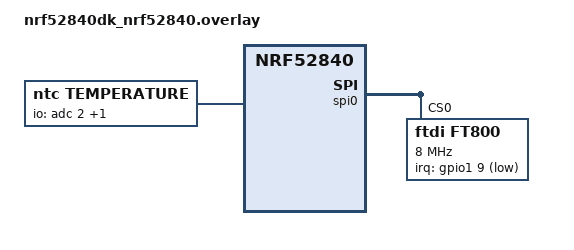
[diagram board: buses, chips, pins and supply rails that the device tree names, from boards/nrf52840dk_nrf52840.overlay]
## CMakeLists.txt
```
# Find Zephyr. This also loads Zephyr's build system.
cmake_minimum_required(VERSION 3.13.1)

set(CONF_FILE "prj.conf")
list(APPEND CONF_FILE "../config/openthread.conf")
list(APPEND CONF_FILE "../config/coap.conf")
list(APPEND CONF_FILE "../config/fota.conf")
list(APPEND CONF_FILE "../config/dfu.conf")
list(APPEND CONF_FILE "prj.conf")

list(APPEND BOARD_ROOT ${CMAKE_CURRENT_SOURCE_DIR})
find_package(Zephyr REQUIRED HINTS $ENV{ZEPHYR_BASE})
project(temp_tscrn)

# Add your source file to the "app" target. This must come after
# find_package(Zephyr) which defines the target.
target_sources(app PRIVATE src/coap.c)
target_sources(app PRIVATE src/conn.c)
target_sources(app PRIVATE src/ctlr.c)
target_sources(app PRIVATE src/data_dispatcher.c)
target_sources(app PRIVATE src/display.c)
target_sources(app PRIVATE src/light_conn.c)
target_sources(app PRIVATE src/main.c)
target_sources(app PRIVATE src/ntc.c)
target_sources(app PRIVATE src/output.c)
target_sources(app PRIVATE src/prj_timeout.c)
target_sources(app PRIVATE src/prov.c)
target_sources(app PRIVATE src/rmt_out.c)
target_sources(app PRIVATE src/sensor.c)
target_sources(app PRIVATE src/shades_conn.c)
target_sources(app PRIVATE src/vent_conn.c)

# TODO: Replace with library target
target_include_directories(app PRIVATE ../lib)
target_sources(app PRIVATE ../lib/cbor_utils.c)
target_sources(app PRIVATE ../lib/coap_fota.c)
target_sources(app PRIVATE ../lib/coap_reboot.c)
target_sources(app PRIVATE ../lib/coap_sd.c)
target_sources(app PRIVATE ../lib/coap_server.c)
target_sources(app PRIVATE ../lib/coap_temperature.c)
target_sources(app PRIVATE ../lib/continuous_sd.c)
target_sources(app PRIVATE ../lib/dfu_utils.c)

zephyr_get(COAPS_PSK SYSBUILD GLOBAL)
if(COAPS_PSK)
    target_compile_definitions(app PRIVATE
        -DCOAPS_PSK=${COAPS_PSK}
        )
else()
    message(FATAL_ERROR "Missing COAPS_PSK")
endif()
```

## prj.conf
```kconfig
CONFIG_NEWLIB_LIBC=y
CONFIG_FPU=y
CONFIG_FPU_SHARING=y

CONFIG_MAIN_STACK_SIZE=3072
CONFIG_HEAP_MEM_POOL_SIZE=2048

CONFIG_ADC=y
CONFIG_SENSOR=y

CONFIG_SPI=y
CONFIG_DISPLAY=y
CONFIG_FT800=y

CONFIG_MCUBOOT_IMGTOOL_SIGN_VERSION="0.13.1+0"

CONFIG_COAP_SD_MAX_NUM_RSRCS=12
CONFIG_CONTINUOUS_SD_MAX_NUM_RSRCS=12
CONFIG_NET_MAX_CONTEXTS=16
CONFIG_NET_MAX_CONN=16
CONFIG_NET_SOCKETS_SERVICE_THREAD_PRIO=14
CONFIG_ZVFS_OPEN_MAX=24

# Needed for NTP
CONFIG_DNS_RESOLVER=y
CONFIG_DNS_SERVER_IP_ADDRESSES=y
CONFIG_DNS_SERVER1="2001:4860:4860::8888"
CONFIG_DNS_SERVER2="2001:4860:4860::8844"
CONFIG_DNS_RESOLVER_ADDITIONAL_BUF_CTR=5
CONFIG_DNS_RESOLVER_ADDITIONAL_QUERIES=2
CONFIG_NET_SOCKETS_DNS_TIMEOUT=5000

CONFIG_DATE_TIME=y

CONFIG_RESET_ON_FATAL_ERROR=n
```

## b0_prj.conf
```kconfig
#CONFIG_ARM_MPU=y
CONFIG_NCS_SAMPLES_DEFAULTS=n
CONFIG_BOOT_BANNER=n
CONFIG_PRINTK=n
CONFIG_CONSOLE=n
CONFIG_UART_CONSOLE=n # Set explicitly to 'n' to avoid Kconfig warning
CONFIG_SERIAL=n
CONFIG_SECURE_BOOT_DEBUG=n
CONFIG_ASSERT=n
```

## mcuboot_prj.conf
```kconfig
#CONFIG_BOOT_SIGNATURE_TYPE_RSA=y
#CONFIG_BOOT_SIGNATURE_TYPE_RSA_LEN=2048
CONFIG_BOOT_SIGNATURE_KEY_FILE="mykey.pem"

#CONFIG_MAIN_STACK_SIZE=2048

CONFIG_FT800=n

CONFIG_RESET_ON_FATAL_ERROR=n
```

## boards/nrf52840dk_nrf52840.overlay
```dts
/*
 * Copyright (c) 2024 Hubert Miś
 *
 * SPDX-License-Identifier: Apache-2.0
 */

/ {
    ntc: ntc {
        compatible = "ntc,temperature";
        io-channels = <&adc 2>, <&adc 3>;
        r_ref = <10000>;
    };

    relay: relay {
        compatible = "gpio-relays";
        relay0: relay_0 {
            gpios = <&gpio0 13 GPIO_ACTIVE_HIGH>;
            label = "Heater relay";
        };
    };
};

&spi0 {
    status = "okay";

    ft800: ft800@0 {
        compatible = "ftdi,ft800";
        reg = <0>;
        spi-max-frequency = <8000000>;

        irq-gpios = <&gpio1 9 (GPIO_ACTIVE_LOW | GPIO_PULL_UP)>;

        pclk = <5>;
        pclk_pol = <1>;
        cspread = <1>;
        swizzle = <0>;
        vsize = <272>;
        voffset = <12>;
        vcycle = <292>;
        vsync0 = <0>;
        vsync1 = <10>;
        hsize = <480>;
        hoffset = <43>;
        hcycle = <548>;
        hsync0 = <0>;
        hsync1 = <41>;

        status = "okay";
    };
};
```

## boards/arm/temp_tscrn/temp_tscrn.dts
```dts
/*
 * Copyright (c) 2020 Hubert Miś
 *
 * SPDX-License-Identifier: Apache-2.0
 */

/dts-v1/;
#include <nordic/nrf52840_qiaa.dtsi>

/ {
	model = "Temp tscrn";
	compatible = "hubertmis,temp_tscrn";

	chosen {
		zephyr,sram = &sram0;
		zephyr,flash = &flash0;
		zephyr,code-partition = &slot0_partition;
	};

	ntc: ntc {
		compatible = "ntc,temperature";
		label = "NTC sensors";
		io-channels = <&adc 2>, <&adc 3>;
		r_ref = <10000>;
	};

    relay: relay {
        compatible = "gpio-relays";
        relay0: relay_0 {
            gpios = <&gpio0 7 GPIO_ACTIVE_HIGH>;
            label = "Heater relay";
        };
    };

    /*
    * In some default configurations within the nRF Connect SDK,
    * e.g. on nRF52840, the chosen zephyr,entropy node is &cryptocell.
    * This devicetree overlay ensures that default is overridden wherever it
    * is set, as this application uses the RNG node for entropy exclusively.
    */
    chosen {
        zephyr,entropy = &rng;
    };
};

&adc {
	status = "okay";
};

&gpiote {
	status = "okay";
};

&gpio0 {
	status = "okay";
};

&gpio1 {
	status = "okay";
};

&spi0 {
	compatible = "nordic,nrf-spi";
	status = "okay";
	sck-pin = <19>;
	mosi-pin = <23>;
	miso-pin = <21>;
	cs-gpios = <&gpio0 12 GPIO_ACTIVE_LOW>;
/*
	sck-pin = <14>;
	mosi-pin = <13>;
	miso-pin = <12>;
	cs-gpios = <&gpio0 11 GPIO_ACTIVE_LOW>;
*/

    ft800: ft800@0 {
        compatible = "ftdi,ft800";
        label = "FT800_0";
        reg = <0>;
        spi-max-frequency = <8000000>;

        irq-gpios = <&gpio1 9 (GPIO_ACTIVE_LOW | GPIO_PULL_UP)>;

	pclk = <5>;
	pclk_pol = <1>;
	cspread = <1>;
	swizzle = <0>;
	vsize = <272>;
	voffset = <12>;
	vcycle = <292>;
	vsync0 = <0>;
	vsync1 = <10>;
	hsize = <480>;
	hoffset = <43>;
	hcycle = <548>;
	hsync0 = <0>;
	hsync1 = <41>;

        status = "okay";
    };
};

&flash0 {

	partitions {
		compatible = "fixed-partitions";
		#address-cells = <1>;
		#size-cells = <1>;

		boot_partition: partition@0 {
			label = "mcuboot";
			reg = <0x000000000 0x0000C000>;
		};
		slot0_partition: partition@c000 {
			label = "image-0";
			reg = <0x0000C000 0x00067000>;
		};
		slot1_partition: partition@73000 {
			label = "image-1";
			reg = <0x00073000 0x00067000>;
		};
		scratch_partition: partition@da000 {
			label = "image-scratch";
			reg = <0x000da000 0x0001e000>;
		};

		/*
		 * The flash starting at 0x000f8000 and ending at
		 * 0x000fffff is reserved for use by the application.
		 */

		/*
		 * Storage partition will be used by FCB/LittleFS/NVS
		 * if enabled.
		 */
		storage_partition: partition@f8000 {
			label = "storage";
			reg = <0x000f8000 0x00008000>;
		};
	};
};
```

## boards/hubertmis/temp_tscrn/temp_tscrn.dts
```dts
/*
 * Copyright (c) 2020 Hubert Miś
 *
 * SPDX-License-Identifier: Apache-2.0
 */

/dts-v1/;
#include <nordic/nrf52840_qiaa.dtsi>

/ {
	model = "Temp tscrn";
	compatible = "hubertmis,temp_tscrn";

	chosen {
		zephyr,sram = &sram0;
		zephyr,flash = &flash0;
		zephyr,code-partition = &slot0_partition;
	};

	ntc: ntc {
		compatible = "ntc,temperature";
		io-channels = <&adc 2>, <&adc 3>;
		r_ref = <10000>;
	};

    relay: relay {
        compatible = "gpio-relays";
        relay0: relay_0 {
            gpios = <&gpio0 7 GPIO_ACTIVE_HIGH>;
            label = "Heater relay";
        };
    };

    /*
    * In some default configurations within the nRF Connect SDK,
    * e.g. on nRF52840, the chosen zephyr,entropy node is &cryptocell.
    * This devicetree overlay ensures that default is overridden wherever it
    * is set, as this application uses the RNG node for entropy exclusively.
    */
    chosen {
        zephyr,entropy = &rng;
    };
};

&adc {
	status = "okay";
};

&gpiote {
	status = "okay";
};

&gpio0 {
	status = "okay";
};

&gpio1 {
	status = "okay";
};

&pinctrl {
	spi0_default: spi0_default {
		group1 {
			psels = <NRF_PSEL(SPIM_SCK, 0, 19)>,
				<NRF_PSEL(SPIM_MOSI, 0, 23)>,
				<NRF_PSEL(SPIM_MISO, 0, 21)>;
		};
	};

	spi0_sleep: spi0_sleep {
		group1 {
			psels = <NRF_PSEL(SPIM_SCK, 0, 19)>,
				<NRF_PSEL(SPIM_MOSI, 0, 23)>,
				<NRF_PSEL(SPIM_MISO, 0, 21)>;
			low-power-enable;
		};
	};
};

&spi0 {
	compatible = "nordic,nrf-spi";
	status = "okay";
	pinctrl-0 = <&spi0_default>;
	pinctrl-1 = <&spi0_sleep>;
	pinctrl-names = "default", "sleep";

/*
	sck-pin = <19>;
	mosi-pin = <23>;
	miso-pin = <21>;
*/
	cs-gpios = <&gpio0 12 GPIO_ACTIVE_LOW>;
/*
	sck-pin = <14>;
	mosi-pin = <13>;
	miso-pin = <12>;
	cs-gpios = <&gpio0 11 GPIO_ACTIVE_LOW>;
*/

    ft800: ft800@0 {
        compatible = "ftdi,ft800";
        reg = <0>;
        spi-max-frequency = <8000000>;

        irq-gpios = <&gpio1 9 (GPIO_ACTIVE_LOW | GPIO_PULL_UP)>;

	pclk = <5>;
	pclk_pol = <1>;
	cspread = <1>;
	swizzle = <0>;
	vsize = <272>;
	voffset = <12>;
	vcycle = <292>;
	vsync0 = <0>;
	vsync1 = <10>;
	hsize = <480>;
	hoffset = <43>;
	hcycle = <548>;
	hsync0 = <0>;
	hsync1 = <41>;

        status = "okay";
    };
};

&flash0 {

	partitions {
		compatible = "fixed-partitions";
		#address-cells = <1>;
		#size-cells = <1>;

		boot_partition: partition@0 {
			label = "mcuboot";
			reg = <0x000000000 0x0000C000>;
		};
		slot0_partition: partition@c000 {
			label = "image-0";
			reg = <0x0000C000 0x00067000>;
		};
		slot1_partition: partition@73000 {
			label = "image-1";
			reg = <0x00073000 0x00067000>;
		};
		scratch_partition: partition@da000 {
			label = "image-scratch";
			reg = <0x000da000 0x0001e000>;
		};

		/*
		 * The flash starting at 0x000f8000 and ending at
		 * 0x000fffff is reserved for use by the application.
		 */

		/*
		 * Storage partition will be used by FCB/LittleFS/NVS
		 * if enabled.
		 */
		storage_partition: partition@f8000 {
			label = "storage";
			reg = <0x000f8000 0x00008000>;
		};
	};
};
```

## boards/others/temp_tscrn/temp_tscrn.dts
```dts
/*
 * Copyright (c) 2020 Hubert Miś
 *
 * SPDX-License-Identifier: Apache-2.0
 */

/dts-v1/;
#include <nordic/nrf52840_qiaa.dtsi>

/ {
	model = "Temp tscrn";
	compatible = "hubertmis,temp_tscrn";

	chosen {
		zephyr,sram = &sram0;
		zephyr,flash = &flash0;
		zephyr,code-partition = &slot0_partition;
		zephyr,ieee802154 = &ieee802154;
	};

	ntc: ntc {
		compatible = "ntc,temperature";
		io-channels = <&adc 2>, <&adc 3>;
		r_ref = <10000>;
	};

	relay: relay {
		compatible = "gpio-relays";
		relay0: relay_0 {
			gpios = <&gpio0 7 GPIO_ACTIVE_HIGH>;
			label = "Heater relay";
		};
	};

	/*
	* In some default configurations within the nRF Connect SDK,
	* e.g. on nRF52840, the chosen zephyr,entropy node is &cryptocell.
	* This devicetree overlay ensures that default is overridden wherever it
	* is set, as this application uses the RNG node for entropy exclusively.
	*/
	chosen {
		zephyr,entropy = &rng;
	};
};

&adc {
	status = "okay";
};

&gpiote {
	status = "okay";
};

&gpio0 {
	status = "okay";
};

&gpio1 {
	status = "okay";
};

&ieee802154 {
	status = "okay";
};

&pinctrl {
	spi0_default: spi0_default {
		group1 {
			psels = <NRF_PSEL(SPIM_SCK, 0, 19)>,
				<NRF_PSEL(SPIM_MOSI, 0, 23)>,
				<NRF_PSEL(SPIM_MISO, 0, 21)>;
		};
	};

	spi0_sleep: spi0_sleep {
		group1 {
			psels = <NRF_PSEL(SPIM_SCK, 0, 19)>,
				<NRF_PSEL(SPIM_MOSI, 0, 23)>,
				<NRF_PSEL(SPIM_MISO, 0, 21)>;
			low-power-enable;
		};
	};
};

&spi0 {
	compatible = "nordic,nrf-spi";
	status = "okay";
	pinctrl-0 = <&spi0_default>;
	pinctrl-1 = <&spi0_sleep>;
	pinctrl-names = "default", "sleep";

	cs-gpios = <&gpio0 12 GPIO_ACTIVE_LOW>;

    ft800: ft800@0 {
        compatible = "ftdi,ft800";
        reg = <0>;
        spi-max-frequency = <8000000>;

        irq-gpios = <&gpio1 9 (GPIO_ACTIVE_LOW | GPIO_PULL_UP)>;

	pclk = <5>;
	pclk-pol = <1>;
	cspread = <1>;
	swizzle = <0>;
	vsize = <272>;
	voffset = <12>;
	vcycle = <292>;
	vsync0 = <0>;
	vsync1 = <10>;
	hsize = <480>;
	hoffset = <43>;
	hcycle = <548>;
	hsync0 = <0>;
	hsync1 = <41>;

        status = "okay";
    };
};

&flash0 {

	partitions {
		compatible = "fixed-partitions";
		#address-cells = <1>;
		#size-cells = <1>;

		boot_partition: partition@0 {
			label = "mcuboot";
			reg = <0x000000000 0x0000C000>;
		};
		slot0_partition: partition@c000 {
			label = "image-0";
			reg = <0x0000C000 0x00079000>;
		};
		slot1_partition: partition@85000 {
			label = "image-1";
			reg = <0x00085000 0x00079000>;
		};

		storage_partition: partition@fe000 {
			label = "storage";
			reg = <0x000fe000 0x00002000>;
		};
	};
};
```

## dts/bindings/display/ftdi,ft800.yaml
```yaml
# Copyright (c) 2020 Hubert Miś <hubert.mis@gmail.com>
# SPDX-License-Identifier: Apache-2.0

description: FTDI FT800 graphic controller

compatible: "ftdi,ft800"

include: spi-device.yaml

properties:
  irq-gpios:
    type: phandle-array
    required: false
```

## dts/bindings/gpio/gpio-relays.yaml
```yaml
# Copyright (c) 2020, Hubert Miś
# SPDX-License-Identifier: Apache-2.0

description: GPIO relays parent node

compatible: "gpio-relays"

child-binding:
    description: GPIO relays child node
    properties:
       gpios:
          type: phandle-array
          required: true
       label:
          required: true
          type: string
          description: Human readable string describing the device (used as device_get_binding() argument)
```

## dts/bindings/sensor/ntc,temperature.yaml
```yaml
# Copyright (c) 2020 Hubert Miś
# SPDX-License-Identifier: Apache-2.0

description: Generic NTC Temperature Sensor

compatible: "ntc,temperature"

include: base.yaml

properties:
  io-channels:
    required: true
    description: |
      IO channel associated with the NTC voltage

  r_ref:
    type: int
    required: true
    description: |
      Value of reference resistance in ohms used in series with NTC sensor.

  ntc_before_r_ref:
    type: boolean
    description: |
      If NTC sensor is placed before reference resistor
      in series from voltage source to ground.
```

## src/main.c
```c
/*
 * Copyright (c) 2020 Hubert Miś
 *
 * SPDX-License-Identifier: Apache-2.0
 */

#include <assert.h>
#include <stdbool.h>

#include "coap.h"
#include "conn.h"
#include "ctlr.h"
#include "data_dispatcher.h"
#include "dfu_utils.h"
#include "display.h"
#include "light_conn.h"
#include "output.h"
#include "prj_timeout.h"
#include "prov.h"
#include "rmt_out.h"
#include "sensor.h"
#include "shades_conn.h"
#include "vent_conn.h"

#include <net/fota_download.h>
#include <openthread/thread.h>
#include <zephyr/drivers/misc/ft8xx/ft8xx.h>
#include <zephyr/dfu/mcuboot.h>
#include <zephyr/net/openthread.h>
#include <zephyr/settings/settings.h>
#include <zephyr/sys/reboot.h>

#define TX_POWER 8

static struct ft8xx_touch_transform tt;
static bool tt_known = false;

static int app_settings_set(const char *name, size_t len,
                            settings_read_cb read_cb, void *cb_arg)
{
    const char *next;
    int rc;

    if (settings_name_steq(name, "tt", &next) && !next) {
        if (len != sizeof(tt)) {
            return -EINVAL;
        }

        rc = read_cb(cb_arg, &tt, sizeof(tt));
        if (rc >= 0) {
            tt_known = true;
            return 0;
        }

        return rc;
    }

    return -ENOENT;
}

struct settings_handler sett_app_conf = {
    .name = "app",
    .h_set = app_settings_set,
};

void fota_callback(const struct fota_download_evt *evt)
{
    if (evt->id == FOTA_DOWNLOAD_EVT_FINISHED) {
        sys_reboot(SYS_REBOOT_COLD);
    }
}

int main(void)
{
    int r;
    prov_init();

    r = settings_subsys_init();
    r = settings_register(&sett_app_conf);
    r = settings_register(prov_get_settings_handler());
    r = settings_load();

    otError error;
    struct otInstance *ot_instance = openthread_get_default_instance();

    error = otPlatRadioSetTransmitPower(ot_instance, TX_POWER);
    assert(error == OT_ERROR_NONE);

    struct otIp6Address site_local_all_nodes_addr = {.mFields = {.m8 =
            {0xff, 0x05, 0x00, 0x00, 0x00, 0x00, 0x00, 0x00,
             0x00, 0x00, 0x00, 0x00, 0x00, 0x00, 0x00, 0x01} }};

    error = otIp6SubscribeMulticastAddress(ot_instance, &site_local_all_nodes_addr);
    assert(error == OT_ERROR_NONE);

    // TODO: Why is this delay needed?
    k_sleep(K_MSEC(50));

#if CONFIG_BOARD_TEMP_TSCRN
    const struct device *ft8xx_dev = DEVICE_DT_GET_ONE(ftdi_ft800);

    if (tt_known) {
        ft8xx_touch_transform_set(ft8xx_dev, &tt);
    } else {
        ft8xx_calibrate(ft8xx_dev, &tt);
        settings_save_one("app/tt", &tt, sizeof(tt));
    }
#endif

    fota_download_init(fota_callback);
    data_dispatcher_init();
    conn_init();
    display_init();
    sensor_init();
    output_init();
    ctlr_init();
    coap_init();
    rmt_out_init();
    vent_conn_init();
    light_conn_init();
    shades_conn_init();
    prj_timeout_init();


#if 0
    if (dfu_utils_keep_checking_conectivity_until(k_uptime_get() + 1000UL * 60UL * 5UL))
#else
    k_sleep(K_MSEC(1000UL * 60UL * 2UL)); // Wait two minutes to allow forcing rollback by power cycle
#endif
    {
        boot_write_img_confirmed();
    }

    return 0;
}
```

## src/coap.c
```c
/*
 * Copyright (c) 2021 Hubert Miś
 *
 * SPDX-License-Identifier: Apache-2.0
 */

#include "coap.h"

#include <errno.h>
#include <stdint.h>

#include <cbor_utils.h>
#include <coap_fota.h>
#include <coap_reboot.h>
#include <coap_sd.h>
#include <coap_server.h>
#include <coap_temperature.h>
#include <continuous_sd.h>
#include "data_dispatcher.h"
#include "prov.h"

#include <net/fota_download.h>
#include <zcbor_decode.h>
#include <zcbor_encode.h>
#include <zephyr/kernel.h>
#include <zephyr/net/coap.h>
#include <zephyr/net/socket.h>
#include <zephyr/net/tls_credentials.h>
#include <zephyr/random/random.h>

#define COAP_PORT 5683
#define COAPS_PORT 5684
#define MAX_COAP_MSG_LEN 256
#define MAX_COAP_PAYLOAD_LEN 128

#define MAX_FOTA_PAYLOAD_LEN 64
#define MAX_FOTA_PATH_LEN 16

#define COAP_CONTENT_FORMAT_TEXT 0
#define COAP_CONTENT_FORMAT_CBOR 60

#ifndef COAPS_PSK
#error PSK for coaps is not defined
#endif
#define COAPS_PSK_ID "def"

#define SITE_LOCAL_SCOPE 5

// Do not block global access until SO_PROTOCOL and verification of ULA address are available downstream
#define BLOCK_GLOBAL_ACCESS 0
#if BLOCK_GLOBAL_ACCESS
#define SO_PROTOCOL 38

static inline bool net_ipv6_is_ula_addr(const struct in6_addr *addr)
{
    return (addr->s6_addr[0] & 0xFE) == 0xFC;
}
#endif

#if BLOCK_GLOBAL_ACCESS
static bool addr_is_local(const struct sockaddr *addr, socklen_t addr_len)
{
    const struct sockaddr_in6 *addr6;
    const struct in6_addr *in6_addr;

    if (addr->sa_family != AF_INET6) {
        return false;
    }

    addr6 = (struct sockaddr_in6 *)addr;
    in6_addr = &addr6->sin6_addr;

    if (net_ipv6_is_ula_addr(in6_addr) ||
            net_ipv6_is_ll_addr(in6_addr)) {
        return true;
    }

    for (int i = 1; i <= SITE_LOCAL_SCOPE; ++i) {
        if (net_ipv6_is_addr_mcast_scope(in6_addr, i)) {
            return true;
        }
    }

    return false;
}

static bool sock_is_secure(int sock)
{
    int proto;
    socklen_t protolen = sizeof(proto);
    int r;

    r = getsockopt(sock, SOL_SOCKET, SO_PROTOCOL, &proto, &protolen);

    if ((r < 0) || (protolen != sizeof(proto))) {
        return false;
    }

    return proto == IPPROTO_DTLS_1_2;
}
#endif


#define MEAS_KEY   "m"
#define SETT_KEY   "s"
#define OUT_KEY    "o"
#define CNT_KEY    "c"
#define P_KEY      "p"
#define I_KEY      "i"
#define HYST_KEY   "h"
#define FRC_SW_KEY "f"

#define TAG_DECIMAL_FRACTION 4

static const char * cnt_val_map[] = {
    [DATA_CTLR_ONOFF] = "onoff",
    [DATA_CTLR_PID]   = "pid",
};

static int prepare_temp_payload(uint8_t *payload, size_t len, data_loc_t loc)
{
    const data_dispatcher_publish_t *meas, *sett, *output, *ctlr, *frc_sw;
    ZCBOR_STATE_E(ce, 3, payload, len, 1);
    data_ctlr_mode_t ctlr_mode;
    const char *cm_str;

    data_dispatcher_get(DATA_TEMP_MEASUREMENT, loc, &meas);
    data_dispatcher_get(DATA_TEMP_SETTING, loc, &sett);
    data_dispatcher_get(DATA_OUTPUT, loc, &output);
    data_dispatcher_get(DATA_CONTROLLER, loc, &ctlr);
    data_dispatcher_get(DATA_FORCED_SWITCHING, loc, &frc_sw);

    if (!zcbor_map_start_encode(ce, 5)) return -EINVAL;

    if (!zcbor_tstr_put_lit(ce, MEAS_KEY)) return -EINVAL;
    if (cbor_encode_dec_frac_num(ce, -1, meas->temp_measurement)) return -EINVAL;

    if (!zcbor_tstr_put_lit(ce, SETT_KEY)) return -EINVAL;
    if (cbor_encode_dec_frac_num(ce, -1, sett->temp_setting)) return -EINVAL;

    if (!zcbor_tstr_put_lit(ce, OUT_KEY)) return -EINVAL;
    if (!zcbor_int32_put(ce, output->output)) return -EINVAL;

    ctlr_mode = ctlr->controller.mode;
    cm_str = cnt_val_map[ctlr_mode];
    uint32_t num_ctlr_map_items = ctlr_mode == DATA_CTLR_ONOFF ? 2 : 3;
    if (!zcbor_tstr_put_lit(ce, CNT_KEY)) return -EINVAL;
    if (!zcbor_map_start_encode(ce, num_ctlr_map_items)) return -EINVAL;

    if (!zcbor_tstr_put_lit(ce, CNT_KEY)) return -EINVAL;
    if (!zcbor_tstr_put_term(ce, cm_str, 6)) return -EINVAL;

    if (ctlr_mode == DATA_CTLR_ONOFF) {
        if (!zcbor_tstr_put_lit(ce, HYST_KEY)) return -EINVAL;
        if (!zcbor_int32_put(ce, ctlr->controller.hysteresis)) return -EINVAL;
    } else {
        if (!zcbor_tstr_put_lit(ce, P_KEY)) return -EINVAL;
        if (!zcbor_int32_put(ce, ctlr->controller.p)) return -EINVAL;

        if (!zcbor_tstr_put_lit(ce, I_KEY)) return -EINVAL;
        if (!zcbor_int32_put(ce, ctlr->controller.i)) return -EINVAL;
    }

    if (!zcbor_map_end_encode(ce, num_ctlr_map_items)) return -EINVAL;

    if(!zcbor_tstr_put_lit(ce, FRC_SW_KEY)) return -EINVAL;
    if (!zcbor_int32_put(ce, frc_sw->forced_switches)) return -EINVAL;

    if (!zcbor_map_end_encode(ce, 5)) return -EINVAL;

    return (size_t)(ce->payload - payload);
}

static int temp_handler(struct coap_resource *resource,
             struct coap_packet *request,
             struct sockaddr *addr, socklen_t addr_len,
             data_loc_t loc)
{
    int sock = *(int*)resource->user_data;
    uint8_t payload[MAX_COAP_PAYLOAD_LEN];
    uint16_t payload_len;
    int r = prepare_temp_payload(payload, MAX_COAP_PAYLOAD_LEN, loc);
    if (r < 0) {
        return -r;
    }
    payload_len = r;

    return coap_server_handle_simple_getter(sock, resource, request,
                    addr, addr_len, payload, payload_len);
}


static int handle_temp_post(zcbor_state_t *cd, enum coap_response_code *rsp_code, void *context)
{
    int r = 0;

    *rsp_code = COAP_RESPONSE_CODE_BAD_REQUEST;
    data_loc_t *loc = context;

    // Handle temperature setting
    if (zcbor_search_key_tstr_lit(cd, SETT_KEY)) {
        int temp_val;
        if (cbor_decode_dec_frac_num(cd, -1, &temp_val)) {
            *rsp_code = COAP_RESPONSE_CODE_BAD_REQUEST;
            return -EINVAL;
        }

        data_dispatcher_publish_t sett = {
            .loc = *loc,
            .type = DATA_TEMP_SETTING,
            .temp_setting = temp_val,
        };
        data_dispatcher_publish(&sett);

        *rsp_code = COAP_RESPONSE_CODE_CHANGED;
    }

    // Handle controller
    if (zcbor_search_key_tstr_lit(cd, CNT_KEY)) {
        if (!zcbor_unordered_map_start_decode(cd)) {
            *rsp_code = COAP_RESPONSE_CODE_BAD_REQUEST;
            return -EINVAL;
        }

        bool updated = false;
        const data_dispatcher_publish_t *ctlr;
        data_dispatcher_publish_t new_ctlr;
        data_dispatcher_get(DATA_CONTROLLER, *loc, &ctlr);
        new_ctlr = *ctlr;

        char str[6];
        int int_val;

        // Handle controller mode
        r = cbor_extract_from_map_string(cd, CNT_KEY, str, sizeof(str));
        if (r >= 0) {
           for (size_t i = 0; i < sizeof(cnt_val_map) / sizeof(cnt_val_map[0]); ++i) {
               if (strncmp(cnt_val_map[i], str, sizeof(str)) == 0) {
                   new_ctlr.controller.mode = i;
                   updated = true;
                   break;
               }
           }
        }

        // Handle hysteresis
        r = cbor_extract_from_map_int(cd, HYST_KEY, &int_val);
        if (r == 0) {
            new_ctlr.controller.hysteresis = int_val;
            updated = true;
        }

        // Handle P
        r = cbor_extract_from_map_int(cd, P_KEY, &int_val);
        if (r == 0) {
            new_ctlr.controller.p = int_val;
            updated = true;
        }

        // Handle I
        r = cbor_extract_from_map_int(cd, I_KEY, &int_val);
        if (r == 0) {
            new_ctlr.controller.i = int_val;
            updated = true;
        }

        if (!zcbor_list_map_end_force_decode(cd)) {
            *rsp_code = COAP_RESPONSE_CODE_BAD_REQUEST;
            return -EINVAL;
        }

        if (updated) {
            *rsp_code = COAP_RESPONSE_CODE_CHANGED;
            data_dispatcher_publish(&new_ctlr);
        }
    }

    // Handle forced switching
    if (zcbor_search_key_tstr_lit(cd, FRC_SW_KEY)) {
        int32_t requested_num_switches;
        if (!zcbor_int32_decode(cd, &requested_num_switches)) return -EINVAL;

        data_dispatcher_publish_t frc_sw = {
            .loc = *loc,
            .type = DATA_FORCED_SWITCHING,
            .forced_switches = requested_num_switches,
        };
        data_dispatcher_publish(&frc_sw);

        *rsp_code = COAP_RESPONSE_CODE_CHANGED;
    }

    return r;
}

static int temp_post(struct coap_resource *resource,
             struct coap_packet *request,
             struct sockaddr *addr, socklen_t addr_len,
             data_loc_t loc)
{
    int sock = *(int*)resource->user_data;

    return coap_server_handle_simple_setter(sock, resource, request, addr, addr_len, handle_temp_post, &loc);
}

static int temp_local_get(struct coap_resource *resource,
             struct coap_packet *request,
             struct sockaddr *addr, socklen_t addr_len)
{
    return temp_handler(resource, request, addr, addr_len, DATA_LOC_LOCAL);
}

static int temp_local_post(struct coap_resource *resource,
             struct coap_packet *request,
             struct sockaddr *addr, socklen_t addr_len)
{
    return temp_post(resource, request, addr, addr_len, DATA_LOC_LOCAL);
}

static int temp_remote_get(struct coap_resource *resource,
             struct coap_packet *request,
             struct sockaddr *addr, socklen_t addr_len)
{
    return temp_handler(resource, request, addr, addr_len, DATA_LOC_REMOTE);
}

static int temp_remote_post(struct coap_resource *resource,
             struct coap_packet *request,
             struct sockaddr *addr, socklen_t addr_len)
{
    return temp_post(resource, request, addr, addr_len, DATA_LOC_REMOTE);
}

#define RSRC0_KEY "r0"
#define RSRC1_KEY "r1"
#define OUT0_KEY "o0"
#define OUT1_ITVL_KEY "o1i"
#define OUT1_MAX_ON_KEY "o1m"

static int handle_prov_post(zcbor_state_t *cd, enum coap_response_code *rsp_code, void *context)
{
    (void)context;
    int r = -EINVAL;
    bool updated = false;
    char str[PROV_LBL_MAX_LEN];
    int prov_int;

    // Handle rsrc0
    r = cbor_extract_from_map_string(cd, RSRC0_KEY, str, sizeof(str));
    if ((r >= 0) && (r < PROV_LBL_MAX_LEN)) {
        r = prov_set_rsrc_label(DATA_LOC_LOCAL, str);

        if (r == 0) {
            updated = true;
        }
    }

    // Handle rsrc1
    r = cbor_extract_from_map_string(cd, RSRC1_KEY, str, sizeof(str));
    if ((r >= 0) && (r < PROV_LBL_MAX_LEN)) {
        r = prov_set_rsrc_label(DATA_LOC_REMOTE, str);

        if (r == 0) {
            updated = true;
        }
    }

    // Handle out0
    r = cbor_extract_from_map_string(cd, OUT0_KEY, str, sizeof(str));
    if ((r >= 0) && (r < PROV_LBL_MAX_LEN)) {
        r = prov_set_loc_output_label(str);

        if (r == 0) {
            updated = true;
        }
    }

    r = cbor_extract_from_map_int(cd, OUT1_ITVL_KEY, &prov_int);
    if (r == 0) {
        r = prov_set_rmt_output_interval(prov_int);

        if (r == 0) {
            updated = true;
        }
    }

    r = cbor_extract_from_map_int(cd, OUT1_MAX_ON_KEY, &prov_int);
    if (r == 0) {
        r = prov_set_rmt_output_max_on(prov_int);

        if (r == 0) {
            updated = true;
        }
    }

    if (updated) {
        *rsp_code = COAP_RESPONSE_CODE_CHANGED;
        prov_store();
    } else {
        *rsp_code = COAP_RESPONSE_CODE_BAD_REQUEST;
    }

    return r;
}

static int prov_post(struct coap_resource *resource,
        struct coap_packet *request,
        struct sockaddr *addr, socklen_t addr_len)
{
    int sock = *(int*)resource->user_data;

    return coap_server_handle_simple_setter(sock, resource, request ,addr, addr_len,
		    handle_prov_post, NULL);
}

static int prepare_prov_payload(uint8_t *payload, size_t len)
{
    ZCBOR_STATE_E(ce, 2, payload, len, 1);
    const char *label;
    int prov_int;

    if (!zcbor_map_start_encode(ce, 5)) return -EINVAL;

    label = prov_get_rsrc_label(DATA_LOC_LOCAL);
    if (!zcbor_tstr_put_lit(ce, RSRC0_KEY)) return -EINVAL;
    if (!zcbor_tstr_put_term(ce, label, 8)) return -EINVAL;

    label = prov_get_rsrc_label(DATA_LOC_REMOTE);
    if (!zcbor_tstr_put_lit(ce, RSRC1_KEY)) return -EINVAL;
    if (!zcbor_tstr_put_term(ce, label, 8)) return -EINVAL;

    label = prov_get_loc_output_label();
    if (!zcbor_tstr_put_lit(ce, OUT0_KEY)) return -EINVAL;
    if (!zcbor_tstr_put_term(ce, label, 8)) return -EINVAL;

    prov_int = prov_get_rmt_output_interval();
    if (!zcbor_tstr_put_lit(ce, OUT1_ITVL_KEY)) return -EINVAL;
    if (!zcbor_int32_put(ce, prov_int)) return -EINVAL;

    prov_int = prov_get_rmt_output_max_on();
    if (!zcbor_tstr_put_lit(ce, OUT1_MAX_ON_KEY)) return -EINVAL;
    if (!zcbor_int32_put(ce, prov_int)) return -EINVAL;

    if (!zcbor_map_end_encode(ce, 5)) return -EINVAL;

    return (size_t)(ce->payload - payload);
}

static int prov_get(struct coap_resource *resource,
        struct coap_packet *request,
        struct sockaddr *addr, socklen_t addr_len)
{
    int sock = *(int*)resource->user_data;
    int r = 0;
    uint8_t payload[MAX_COAP_PAYLOAD_LEN];
    size_t payload_len = 0;

    r = prepare_prov_payload(payload, MAX_COAP_PAYLOAD_LEN);
    if (r < 0) {
        return r;
    }
    payload_len = r;

    return coap_server_handle_simple_getter(sock, resource, request,
                    addr, addr_len, payload, payload_len);
}

static int prepare_cont_sd_dbg_payload(uint8_t *payload, size_t len)
{
    ZCBOR_STATE_E(ce, 2, payload, len, 1);

    int state;
    int64_t target_time;
    int64_t now = k_uptime_get();
    const char *name;
    const char *type;
    int sd_missed;
    int64_t last_req;
    int64_t last_rsp;
    int sem_take_result;
    k_ticks_t thread_rem_ticks;
    continuous_sd_debug(&state, &target_time, &name, &type, &sd_missed, &last_req, &last_rsp,
			&sem_take_result, &thread_rem_ticks);


    if (!zcbor_map_start_encode(ce, 10)) return -EINVAL;

    if (!zcbor_tstr_put_lit(ce, "n")) return -EINVAL;
    if (!zcbor_tstr_put_term(ce, name, 8)) return -EINVAL;

    if (!zcbor_tstr_put_lit(ce, "t")) return -EINVAL;
    if (!zcbor_tstr_put_term(ce, type, 8)) return -EINVAL;

    if (!zcbor_tstr_put_lit(ce, "s")) return -EINVAL;
    if (!zcbor_int32_put(ce, state)) return -EINVAL;

    if (!zcbor_tstr_put_lit(ce, "nt")) return -EINVAL;
    if (!zcbor_int64_put(ce, now)) return -EINVAL;

    if (!zcbor_tstr_put_lit(ce, "tt")) return -EINVAL;
    if (!zcbor_int64_put(ce, target_time)) return -EINVAL;

    if (!zcbor_tstr_put_lit(ce, "sm")) return -EINVAL;
    if (!zcbor_int32_put(ce, sd_missed)) return -EINVAL;

    if (!zcbor_tstr_put_lit(ce, "lre")) return -EINVAL;
    if (!zcbor_int64_put(ce, last_req)) return -EINVAL;

    if (!zcbor_tstr_put_lit(ce, "lrs")) return -EINVAL;
    if (!zcbor_int64_put(ce, last_rsp)) return -EINVAL;

    if (!zcbor_tstr_put_lit(ce, "str")) return -EINVAL;
    if (!zcbor_int32_put(ce, sem_take_result)) return -EINVAL;

    if (!zcbor_tstr_put_lit(ce, "trt")) return -EINVAL;
    if (!zcbor_int64_put(ce, thread_rem_ticks)) return -EINVAL;

    if (!zcbor_map_end_encode(ce, 10)) return -EINVAL;

    return (size_t)(ce->payload - payload);
}

static int cont_sd_dbg_get(struct coap_resource *resource,
        struct coap_packet *request,
        struct sockaddr *addr, socklen_t addr_len)
{
    int sock = *(int*)resource->user_data;
    uint8_t payload[MAX_COAP_PAYLOAD_LEN];
    size_t payload_len = 0;

    int r = prepare_cont_sd_dbg_payload(payload, MAX_COAP_PAYLOAD_LEN);
    if (r < 0) {
        return r;
    }
    payload_len = r;

    return coap_server_handle_simple_getter(sock, resource, request,
                    addr, addr_len, payload, payload_len);
}

#define VALIDITY_KEY "d"
#define PRJ_KEY "p"

static int handle_prj_post(zcbor_state_t *value,
	       	enum coap_response_code *rsp_code, void *context)
{
    data_loc_t *loc = context;
    data_loc_t rsrc_id = *loc;
    int ret;
    int validity_ms = 2 * 60 * 1000;
    bool prj_active = false;

    *rsp_code = COAP_RESPONSE_CODE_BAD_REQUEST;

    // Handle validity
    ret = cbor_extract_from_map_int(value, VALIDITY_KEY, &validity_ms);
    if (validity_ms <= 0) {
        *rsp_code = COAP_RESPONSE_CODE_BAD_REQUEST;
        return -EINVAL;
    }

    // Handle projector being enabled
    ret = cbor_extract_from_map_bool(value, PRJ_KEY, &prj_active);
    if (ret) {
        *rsp_code = COAP_RESPONSE_CODE_BAD_REQUEST;
        return -EINVAL;
    }

    data_dispatcher_publish_t out_data = {
        .type         = DATA_PRJ_ENABLED,
        .loc          = rsrc_id,
        .prj_validity = prj_active ? validity_ms : 0,
    };

    data_dispatcher_publish(&out_data);

    *rsp_code = COAP_RESPONSE_CODE_CHANGED;
    return 0;
}

static int prj_post(struct coap_resource *resource,
        struct coap_packet *request,
        struct sockaddr *addr, socklen_t addr_len, data_loc_t rsrc_id)
{
    int sock = *(int*)resource->user_data;

    return coap_server_handle_non_con_setter(sock, resource, request, addr, addr_len,
		    handle_prj_post, &rsrc_id);
}

static int prj_remote_post(struct coap_resource *resource,
        struct coap_packet *request,
        struct sockaddr *addr, socklen_t addr_len)
{
	return prj_post(resource, request, addr, addr_len, DATA_LOC_REMOTE);
}

static int prj_local_post(struct coap_resource *resource,
        struct coap_packet *request,
        struct sockaddr *addr, socklen_t addr_len)
{
	return prj_post(resource, request, addr, addr_len, DATA_LOC_LOCAL);
}

static int prepare_prj_payload(uint8_t *payload, size_t len, data_loc_t loc)
{
    ZCBOR_STATE_E(ce, 2, payload, len, 1);
    const data_dispatcher_publish_t *prj;

    data_dispatcher_get(DATA_PRJ_ENABLED, loc, &prj);
    uint16_t prj_validity = prj->prj_validity;

    size_t map_len = prj_validity ? 2 : 1;

    if (!zcbor_map_start_encode(ce, map_len)) return -EINVAL;

    if (!zcbor_tstr_put_lit(ce, PRJ_KEY)) return -EINVAL;
    if (!zcbor_bool_put(ce, prj_validity > 0)) return -EINVAL;

    if (prj_validity) {
        if (!zcbor_tstr_put_lit(ce, VALIDITY_KEY)) return -EINVAL;
	if (!zcbor_uint32_put(ce, prj_validity)) return -EINVAL;
    }

    if (!zcbor_map_end_encode(ce, map_len)) return -EINVAL;

    return (size_t)(ce->payload - payload);
}

static int prj_get(struct coap_resource *resource,
        struct coap_packet *request,
        struct sockaddr *addr, socklen_t addr_len,
	data_loc_t loc)
{
    int sock = *(int*)resource->user_data;
    int r = 0;
    uint8_t payload[MAX_COAP_PAYLOAD_LEN];
    size_t payload_len = 0;

    r = prepare_prj_payload(payload, MAX_COAP_PAYLOAD_LEN, loc);
    if (r < 0) {
        return r;
    }
    payload_len = r;

    return coap_server_handle_simple_getter(sock, resource, request,
                    addr, addr_len, payload, payload_len);
}

static int prj_remote_get(struct coap_resource *resource,
        struct coap_packet *request,
        struct sockaddr *addr, socklen_t addr_len)
{
	return prj_get(resource, request, addr, addr_len, DATA_LOC_REMOTE);
}
static int prj_local_get(struct coap_resource *resource,
        struct coap_packet *request,
        struct sockaddr *addr, socklen_t addr_len)
{
	return prj_get(resource, request, addr, addr_len, DATA_LOC_LOCAL);
}

static struct coap_resource * rsrcs_get(int sock)
{
    static const char * const fota_path [] = {"fota_req", NULL};
    static const char * const sd_path [] = {"sd", NULL};
    static const char * const prov_path[] = {"prov", NULL};
    static const char * const reboot_path[] = {"reboot", NULL};
    static const char * const temp_path[] = {"temp", NULL};
    static const char * const cont_sd_dbg_path[] = {"cont_sd", NULL};
    static const char * rsrc_remote_path[] = {NULL, NULL};
    static const char * prj_remote_path[] = {NULL, "prj", NULL};
    static const char * rsrc_local_path[] = {NULL, NULL};
    static const char * prj_local_path[] = {NULL, "prj", NULL};

    static struct coap_resource resources[] = {
    { .get = coap_fota_get,
      .post = coap_fota_post,
      .path = fota_path,
    },
    { .get = coap_sd_server,
      .path = sd_path,
    },
    { .get = prov_get,
      .post = prov_post,
      .path = prov_path,
    },
    { .post = coap_reboot_post,
      .path = reboot_path,
    },
    { .get = coap_temperature_get,
      .path = temp_path,
    },
    { .get = cont_sd_dbg_get,
      .path = cont_sd_dbg_path,
    },
    { .get = temp_remote_get,
      .post = temp_remote_post,
      .path = rsrc_remote_path,
    },
    { .post = prj_remote_post,
      .get = prj_remote_get,
      .path = prj_remote_path,
    },
    { .get = temp_local_get,
      .post = temp_local_post,
      .path = rsrc_local_path,
    },
    { .post = prj_local_post,
      .get = prj_local_get,
      .path = prj_local_path,
    },
        { .path = NULL } // Array terminator
    };

    const int rsrc_local_index = ARRAY_SIZE(resources) - 3;

    rsrc_remote_path[0] = prov_get_rsrc_label(DATA_LOC_REMOTE);
    prj_remote_path[0] = rsrc_remote_path[0];
    rsrc_local_path[0] = prov_get_rsrc_label(DATA_LOC_LOCAL);
    prj_local_path[0] = rsrc_local_path[0];

    if (!rsrc_local_path[0] || !strlen(rsrc_local_path[0])) {
        resources[rsrc_local_index].path = NULL;
    } else {
        resources[rsrc_local_index].path = rsrc_local_path;
    }

    // TODO: Replace it with something better
    static int user_data;

    user_data = sock;

    for (int i = 0; i < ARRAY_SIZE(resources); ++i) {
        resources[i].user_data = &user_data;
    }

    return resources;
}

void coap_init(void)
{
    coap_server_init(rsrcs_get);
}
```

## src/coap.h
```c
/*
 * Copyright (c) 2020 Hubert Miś
 *
 * SPDX-License-Identifier: Apache-2.0
 */

/**
 * @file
 * @brief CoAP Server
 */
    
#ifndef COAP_H_
#define COAP_H_

#include <net/socket.h>
    
#ifdef __cplusplus
extern "C" {
#endif

typedef void (*coap_sd_found)(const struct sockaddr *src_addr,
                              const socklen_t *addrlen,
                              const char *name,
                              const char *type);


void coap_init(void);

/** @brief Run Service Discovery procedure
 *
 * Transmit multicast Service Discovery request and collect responses.
 * Each response causes call to @p cb callback. Caller must be ready to handle
 * callback any number of times (including 0) per single request.
 */
int coap_sd_start(const char *name, const char *type, coap_sd_found cb);

#ifdef __cplusplus
}   
#endif

#endif // COAP_H_
```

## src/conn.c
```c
/*
 * Copyright (c) 2020 Hubert Miś
 *
 * SPDX-License-Identifier: Apache-2.0
 */

#include "conn.h"

void conn_init(void)
{
}
```

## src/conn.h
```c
/*
 * Copyright (c) 2020 Hubert Miś
 *
 * SPDX-License-Identifier: Apache-2.0
 */

/**
 * @file
 * @brief Display controller
 */
    
#ifndef CONN_H_
#define CONN_H_
    
#ifdef __cplusplus
extern "C" {
#endif

void conn_init(void);

#ifdef __cplusplus
}   
#endif

#endif // CONN_H_
```

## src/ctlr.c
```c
/*
 * Copyright (c) 2020 Hubert Miś
 *
 * SPDX-License-Identifier: Apache-2.0
 */

#include "ctlr.h"

#include <stdbool.h>
#include <stddef.h>
#include <string.h>

#include <zephyr/kernel.h>

#include "data_dispatcher.h"
#include "prov.h"

#define PID_INTERVAL (1000UL * 60UL * 3UL)

#define PID_THREAD_STACK_SIZE 1024
#define PID_THREAD_PRIO       1
static void pid_thread_process(void *a1, void *a2, void *a3);

K_THREAD_DEFINE(pid_thread_id, PID_THREAD_STACK_SIZE,
                pid_thread_process, NULL, NULL, NULL,
                PID_THREAD_PRIO, K_ESSENTIAL, K_TICKS_FOREVER);

static volatile bool ctlr_running[DATA_LOC_NUM];

static void changed_temperature(const data_dispatcher_publish_t *data);
static void changed_setting(const data_dispatcher_publish_t *data);
static void changed_ctlr(const data_dispatcher_publish_t *data);

static bool check_forced_switching(data_loc_t loc);
static bool check_projector(data_loc_t loc);
static bool check_ctlr_running(data_loc_t loc);

static void onoff_ctrl(const data_dispatcher_publish_t *meas_data,
                       const data_dispatcher_publish_t *sett_data,
                       const data_dispatcher_publish_t *ctlr_data,
                       data_loc_t loc);

static void process_ctrl(const data_dispatcher_publish_t *meas_data,
                         const data_dispatcher_publish_t *sett_data,
                         const data_dispatcher_publish_t *ctlr_data,
                         data_loc_t loc)
{
    if (ctlr_data == NULL) {
        data_dispatcher_get(DATA_CONTROLLER, loc, &ctlr_data);
    }

    // Do not process controller if output is forced by other means
    if (!check_ctlr_running(loc)) return;

    // None of the override functions took control. Enable the controller.
    ctlr_running[loc] = true;

    switch (ctlr_data->controller.mode) {
        case DATA_CTLR_ONOFF:
            {
                if (meas_data == NULL) {
                    data_dispatcher_get(DATA_TEMP_MEASUREMENT, loc, &meas_data);
                }
                if (sett_data == NULL) {
                    data_dispatcher_get(DATA_TEMP_SETTING, loc, &sett_data);
                }
                onoff_ctrl(meas_data, sett_data, ctlr_data, loc);
            }
            break;

        case DATA_CTLR_PID:
            // Intentionally empty.
            // Temperature measurement is going to be checked
            // at the next timed controller event.
            break;
    }
}

static bool check_forced_switching(data_loc_t loc)
{
    const data_dispatcher_publish_t *frc_sw_data;
    data_dispatcher_get(DATA_FORCED_SWITCHING, loc, &frc_sw_data);

	return frc_sw_data->forced_switches > 0;
}

static bool check_projector(data_loc_t loc)
{
    const data_dispatcher_publish_t *prj_data;
    data_dispatcher_get(DATA_PRJ_ENABLED, loc, &prj_data);

    return prj_data->prj_validity > 0;
}

static bool check_ctlr_running(data_loc_t loc)
{
    if (check_forced_switching(loc)) {
        return false;
    }
    if (check_projector(loc)) {
        return false;
    }

    return true;
}

static void onoff_ctrl(const data_dispatcher_publish_t *meas_data,
                       const data_dispatcher_publish_t *sett_data,
                       const data_dispatcher_publish_t *ctlr_data,
                       data_loc_t loc)
{
    data_dispatcher_publish_t output_data = {
        .loc = loc,
        .type = DATA_OUTPUT,
    };

    if (meas_data->temp_measurement < TEMP_MIN) {
        // Sensor error
        output_data.output = 0;
        data_dispatcher_publish(&output_data);
        return;
    }

    if (!check_ctlr_running(loc)) {
        // Controller disabled
        return;
    }

    if (meas_data->temp_measurement >
            (sett_data->temp_setting
             + ctlr_data->controller.hysteresis)) {
        output_data.output = 0;
        data_dispatcher_publish(&output_data);
    }

    if (meas_data->temp_measurement <
            (sett_data->temp_setting
             - ctlr_data->controller.hysteresis)) {
        output_data.output = 1;
        data_dispatcher_publish(&output_data);
    }
}

static void pid_thread_process(void *a1, void *a2, void *a3)
{
    (void)a1;
    (void)a2;
    (void)a3;

    struct {
        int32_t i;
    } pid_data[DATA_LOC_NUM];

    memset(pid_data, 0, sizeof(pid_data));

    while (1) {
        for (int i = 0; i < DATA_LOC_NUM; ++i) {
            const data_dispatcher_publish_t *meas_data;
            const data_dispatcher_publish_t *sett_data;
            const data_dispatcher_publish_t *ctlr_data;
            data_loc_t loc = (data_loc_t)i;

            data_dispatcher_publish_t out_data = {
                .type   = DATA_OUTPUT,
                .loc    = loc,
                .output = 0,
            };

            if (!check_ctlr_running(loc)) {
                // Controller disabled. Skip algorithm iteration
                continue;
            }

            data_dispatcher_get(DATA_CONTROLLER, loc, &ctlr_data);
            if (ctlr_data->controller.mode != DATA_CTLR_PID) {
                continue;
            }

            data_dispatcher_get(DATA_TEMP_MEASUREMENT, loc, &meas_data);
            data_dispatcher_get(DATA_TEMP_SETTING, loc, &sett_data);

            if (meas_data->temp_measurement < TEMP_MIN) {
                // Sensor error
                out_data.output = 0;
                data_dispatcher_publish(&out_data);
                continue;
            }

            int32_t diff = (int32_t)sett_data->temp_setting - (int32_t)meas_data->temp_measurement;

            // P
            int32_t output = diff * (int32_t)ctlr_data->controller.p;

            // I
            int32_t prev_i = pid_data[i].i;
            int32_t new_i  = prev_i + diff * (int32_t)ctlr_data->controller.i;
            // Unwinding algorithm
            if (diff > 0) {
                // Sneak peak max PWM output to prevent overshoot
                int pwm_itvl = prov_get_rmt_output_interval();
                int pwm_max = prov_get_rmt_output_max_on();
                int32_t max_out = UINT16_MAX;

                if (pwm_itvl && pwm_max) {
                    max_out = (int64_t)max_out * pwm_max / pwm_itvl;
                }

                int32_t max_i = max_out - output;

                if (new_i > max_i) {
                    new_i = prev_i < max_i ? max_i : prev_i;
                }
            }
            else if (diff < 0) {
                int32_t min_i = 0;

                if (new_i < min_i) {
                    new_i = 0;
                }
            }
            pid_data[i].i = new_i;

            output += new_i;

            // Trim output
            output = output < 0 ? 0 : output;
            output = output > UINT16_MAX ? UINT16_MAX : output;

            // Publish new data
            out_data.output = output;
            data_dispatcher_publish(&out_data);
        }

        k_sleep(K_MSEC(PID_INTERVAL));
    }
}

static data_dispatcher_subscribe_t sbscr_temp_meas = {
    .callback = changed_temperature,
};
static data_dispatcher_subscribe_t sbscr_temp_setting = {
    .callback = changed_setting,
};
static data_dispatcher_subscribe_t sbscr_ctlr_setting = {
    .callback = changed_ctlr,
};

void ctlr_init(void)
{
    data_dispatcher_subscribe(DATA_TEMP_MEASUREMENT, &sbscr_temp_meas);
    data_dispatcher_subscribe(DATA_TEMP_SETTING, &sbscr_temp_setting);
    data_dispatcher_subscribe(DATA_CONTROLLER, &sbscr_ctlr_setting);

    k_thread_start(pid_thread_id);
}

static void changed_temperature(const data_dispatcher_publish_t *data)
{
    const data_dispatcher_publish_t *ctlr_data;
    data_loc_t loc = data->loc;

    data_dispatcher_get(DATA_CONTROLLER, loc, &ctlr_data);

    switch (ctlr_data->controller.mode) {
        case DATA_CTLR_ONOFF:
            {
                process_ctrl(data, NULL, ctlr_data, loc);
            }
            break;

        case DATA_CTLR_PID:
            // Intentionally empty.
            // Temperature measurement is going to be checked
            // at the next timed controller event.
            break;
    }
}

static void changed_setting(const data_dispatcher_publish_t *data)
{
    const data_dispatcher_publish_t *ctlr_data;
    data_loc_t loc = data->loc;

    data_dispatcher_get(DATA_CONTROLLER, loc, &ctlr_data);

    switch (ctlr_data->controller.mode) {
        case DATA_CTLR_ONOFF:
            {
                process_ctrl(NULL, data, ctlr_data, loc);
            }
            break;

        case DATA_CTLR_PID:
            // Intentionally empty.
            // Temperature measurement is going to be checked
            // at the next timed controller event.
            break;
    }
}

static void changed_ctlr(const data_dispatcher_publish_t *data)
{
    data_loc_t loc = data->loc;

    switch (data->controller.mode) {
        case DATA_CTLR_ONOFF:
            {
                process_ctrl(NULL, NULL, data, loc);
            }
            break;

        case DATA_CTLR_PID:
            // Intentionally empty.
            // Temperature measurement is going to be checked
            // at the next timed controller event.
            break;
    }
}
```

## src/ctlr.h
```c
/*
 * Copyright (c) 2020 Hubert Miś
 *
 * SPDX-License-Identifier: Apache-2.0
 */

/**
 * @file
 * @brief Temperature controller
 */
    
#ifndef CTLR_H_
#define CTLR_H_
    
#ifdef __cplusplus
extern "C" {
#endif

void ctlr_init(void);

#ifdef __cplusplus
}   
#endif

#endif // CTLR_H_
```

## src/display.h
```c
/*
 * Copyright (c) 2020 Hubert Miś
 *
 * SPDX-License-Identifier: Apache-2.0
 */

/**
 * @file
 * @brief Display controller
 */

#ifndef DISPLAY_H_
#define DISPLAY_H_

#include <stdint.h>

#ifdef __cplusplus
extern "C" {
#endif

void display_init(void);

void display_debug(int32_t value);

#ifdef __cplusplus
}
#endif

#endif // DISPLAY_H_
```

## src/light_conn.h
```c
/*
 * Copyright (c) 2022 Hubert Miś
 *
 * SPDX-License-Identifier: Apache-2.0
 */

/**
 * @file
 * @brief Connection to RGBW leds system
 */
    
#ifndef LIGHT_CONN_H_
#define LIGHT_CONN_H_

#ifdef __cplusplus
extern "C" {
#endif

enum light_conn_item {
	LIGHT_CONN_ITEM_BEDROOM_BED,
	LIGHT_CONN_ITEM_BEDROOM_WARDROBE,
	LIGHT_CONN_ITEM_LIVINGROOM,
	LIGHT_CONN_ITEM_DININGROOM,

	LIGHT_CONN_ITEM_NUM
};

void light_conn_init(void);
void light_conn_enable_polling(int item);
void light_conn_disable_polling(void);

#ifdef __cplusplus
}   
#endif

#endif // LIGHT_CONN_H_
```
